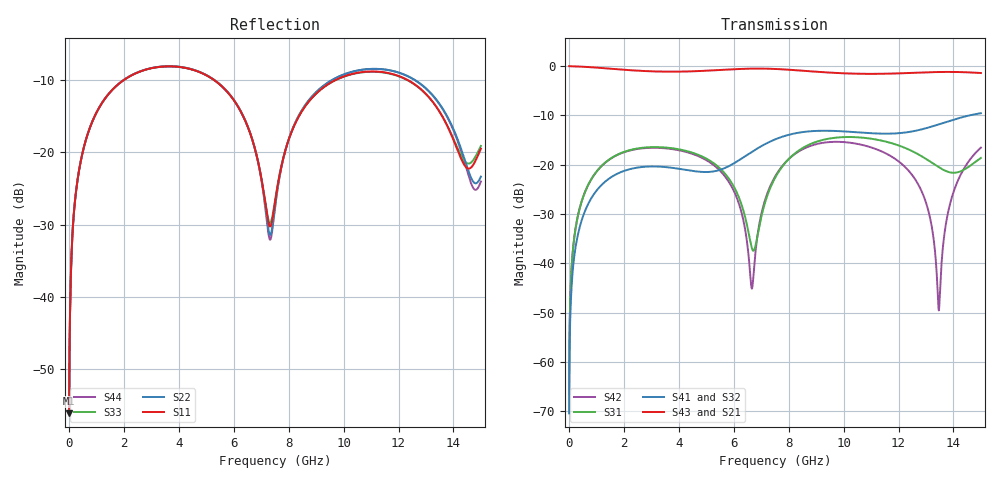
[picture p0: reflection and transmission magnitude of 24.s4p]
! Created with skrf 1.8.0 (http://scikit-rf.org).
# GHz S RI R 50.0
!freq ReS11 ImS11 ReS12 ImS12 ReS13 ImS13
! ReS14 ImS14
! ReS21 ImS21 ReS22 ImS22 ReS23 ImS23
! ReS24 ImS24
! ReS31 ImS31 ReS32 ImS32 ReS33 ImS33
! ReS34 ImS34
! ReS41 ImS41 ReS42 ImS42 ReS43 ImS43
! ReS44 ImS44
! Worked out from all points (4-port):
!   2499 points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, 5 MHz to 15 GHz, reference 50 ohm
!   strongest paths, dB at 5 MHz, 3.476 GHz, 7.19 GHz, 11.1 GHz, 15 GHz:
!     S43: 0.0, -1.1, -0.5, -1.6, -1.4
!     S21: 0.0, -1.1, -0.5, -1.6, -1.4
!     S41: -70.4, -20.5, -15.7, -13.6, -9.6
!     S32: -70.4, -20.4, -15.7, -13.6, -9.6
!     S31: -66.5, -16.5, -26.8, -14.8, -18.6
!     S42: -66.5, -16.7, -26.3, -16.7, -16.5
!   lowest |S11| = -56.2 dB at 5 MHz (marker M1), VSWR 1.00, Z = 50.1 + j0.094 ohm
!   |S11| at or under -10 dB: start of sweep to 1.973 GHz; 5.307 GHz to 9.673 GHz (4.367 GHz wide, 58.3 % of centre); 12.37 GHz to end of sweep
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0.005  0.00123 0.000938  0.9987 -0.0024  6.01e-05 0.000469  -5.85e-05 -0.000296
       0.9987 -0.0024  0.00123 0.000938  -5.85e-05 -0.000296  6e-05 0.00047
       6.01e-05 0.000469  -5.85e-05 -0.000296  0.00123 0.000938  0.9987 -0.0024
       -5.85e-05 -0.000296  6e-05 0.00047  0.9987 -0.0024  0.00123 0.000938
0.4126719  0.0225 0.081  0.9689 -0.1962  0.0104 0.0368  -0.00856 -0.023
           0.9689 -0.1962  0.0225 0.081  -0.00857 -0.023  0.0101 0.0368
           0.0104 0.0368  -0.00857 -0.023  0.0225 0.081  0.9689 -0.1962
           -0.00856 -0.023  0.0101 0.0368  0.9689 -0.1962  0.0225 0.081
2.025844  0.2632 0.1843  0.5644 -0.7233  0.1226 0.0581  -0.0866 -0.00873
          0.5644 -0.7233  0.2644 0.1835  -0.0867 -0.00857  0.119 0.0629
          0.1226 0.0581  -0.0867 -0.00857  0.2631 0.1844  0.5644 -0.7233
          -0.0866 -0.00873  0.119 0.0629  0.5644 -0.7233  0.2644 0.1834
7.303043  0.0305 -0.00492  -0.9382 -0.0601  0.0027 0.0558  -0.00806 0.1704
          -0.9382 -0.0601  0.0265 -0.00568  -0.00493 0.1704  0.00345 0.0583
          0.0027 0.0558  -0.00493 0.1704  0.0323 -0.00453  -0.9382 -0.0603
          -0.00806 0.1704  0.00345 0.0583  -0.9382 -0.0603  0.0246 -0.00515
11.77366  0.342 -0.0784  0.1546 0.8254  0.0908 -0.1374  0.1892 -0.0843
          0.1546 0.8254  0.356 -0.0976  0.1878 -0.0909  0.104 -0.0596
          0.0908 -0.1374  0.1878 -0.0909  0.3405 -0.0761  0.1539 0.826
          0.1892 -0.0843  0.104 -0.0596  0.1539 0.826  0.3554 -0.0981
13.46811  0.1471 -0.1289  0.6805 0.5441  -0.0681 -0.0653  0.1584 -0.2022
          0.6805 0.5441  0.1485 -0.1637  0.1506 -0.208  0.00318 0.00101
          -0.0681 -0.0653  0.1506 -0.208  0.1504 -0.1248  0.6801 0.545
          0.1584 -0.2022  0.00318 0.00101  0.6801 0.545  0.1446 -0.1648
15  0.092 0.0531  0.851 -0.0114  -0.0161 0.1161  -0.0125 -0.3328
    0.851 -0.0114  0.066 0.0167  -0.0244 -0.3314  0.0744 0.1291
    -0.0161 0.1161  -0.0244 -0.3314  0.0985 0.0513  0.8511 -0.00949
    -0.0125 -0.3328  0.0744 0.1291  0.8511 -0.00949  0.0601 0.0188
